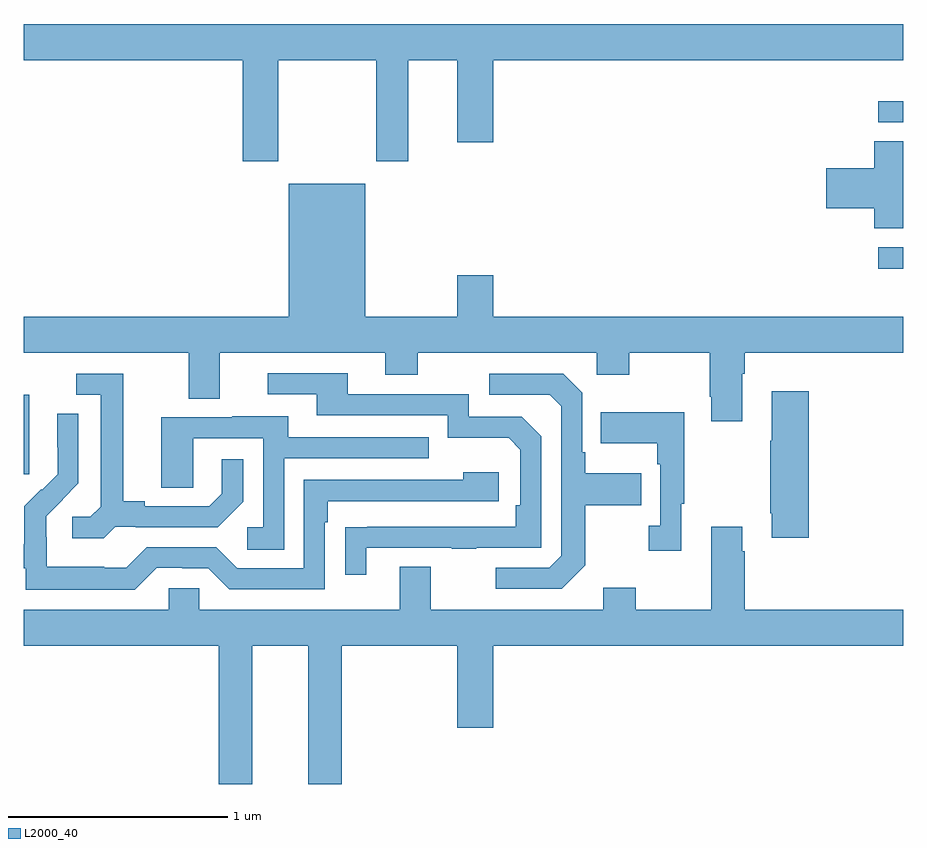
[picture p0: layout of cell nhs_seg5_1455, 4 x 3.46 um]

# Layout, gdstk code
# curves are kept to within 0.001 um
import gdstk
lib = gdstk.Library(unit=1e-6, precision=1e-09)
def R(c, l, rs):  # rectangles x0, y0, x1, y1
    for r in rs: c.add(gdstk.rectangle(r[:2], r[2:], *l))
def P(c, l, *ps):  # polygons
    for p in ps: c.add(gdstk.Polygon(p, *l))
L2000_40 = (2000, 40)

nhs_seg5_1455 = lib.new_cell('nhs_seg5_1455')
R(nhs_seg5_1455, L2000_40, [(199,856.209,199.024,856.57), (202.887,857.143,203,857.241), (202.887,857.808,203,857.904)])
P(nhs_seg5_1455, L2000_40, [(200.157,858.092),(200.602,858.092),(200.602,857.631),(200.749,857.631),(200.749,858.092),(200.972,858.092),(200.972,857.718),(201.136,857.718),(201.136,858.092),(203,858.092),(203,858.256),(199,858.256),(199,858.092),(199.997,858.092),(199.997,857.631),(200.157,857.631)],
  [(203,857.723),(202.868,857.723),(202.868,857.6),(202.65,857.6),(202.65,857.417),(202.868,857.417),(202.868,857.326),(203,857.326)],
  [(202.267,856.664),(202.28,856.664),(202.28,856.76),(203,856.76),(203,856.924),(201.136,856.924),(201.136,857.113),(200.972,857.113),(200.972,856.924),(200.554,856.924),(200.554,857.53),(200.204,857.53),(200.204,856.924),(199,856.924),(199,856.76),(199.751,856.76),(199.751,856.552),(199.891,856.552),(199.891,856.76),(200.645,856.76),(200.645,856.661),(200.793,856.661),(200.793,856.76),(201.606,856.76),(201.606,856.661),(201.753,856.661),(201.753,856.76),(202.12,856.76),(202.12,856.561),(202.127,856.561),(202.127,856.449),(202.267,856.449)],
  [(200.557,855.873),(200.947,855.873),(200.947,855.868),(201.059,855.868),(201.059,855.873),(201.354,855.873),(201.354,856.38),(201.264,856.47),(201.024,856.47),(201.024,856.572),(200.473,856.572),(200.473,856.668),(200.109,856.668),(200.109,856.572),(200.333,856.572),(200.333,856.476),(200.928,856.476),(200.928,856.373),(201.205,856.373),(201.258,856.32),(201.258,856.066),(201.238,856.066),(201.238,855.969),(200.461,855.968),(200.461,855.75),(200.557,855.75)],
  [(199.416,855.969),(199.51,855.969),(199.51,855.966),(199.882,855.966),(199.998,856.082),(199.998,856.276),(199.901,856.276),(199.901,856.119),(199.844,856.062),(199.549,856.062),(199.549,856.085),(199.453,856.085),(199.453,856.665),(199.239,856.665),(199.239,856.569),(199.349,856.569),(199.349,856.061),(199.302,856.014),(199.221,856.014),(199.221,855.917),(199.364,855.917)],
  [(201.553,855.793),(201.553,856.066),(201.809,856.066),(201.809,856.213),(201.553,856.213),(201.553,856.309),(201.54,856.309),(201.54,856.578),(201.453,856.665),(201.117,856.665),(201.117,856.569),(201.393,856.569),(201.444,856.518),(201.444,855.837),(201.39,855.783),(201.147,855.783),(201.147,855.687),(201.447,855.687)],
  [(202.571,856.585),(202.403,856.585),(202.403,856.361),(202.396,856.361),(202.396,856.03),(202.403,856.03),(202.403,855.918),(202.571,855.918)],
  [(201.991,856.073),(202.003,856.073),(202.003,856.489),(201.625,856.489),(201.625,856.349),(201.882,856.349),(201.882,856.253),(201.894,856.253),(201.894,855.974),(201.843,855.974),(201.843,855.861),(201.991,855.861)],
  [(199.605,855.783),(199.721,855.783),(199.721,855.78),(199.839,855.78),(199.935,855.684),(200.37,855.684),(200.37,855.989),(200.383,855.989),(200.383,856.086),(201.16,856.086),(201.16,856.216),(200.999,856.216),(200.999,856.182),(200.274,856.182),(200.274,855.78),(199.971,855.78),(199.875,855.876),(199.56,855.876),(199.467,855.783),(199.367,855.783),(199.367,855.787),(199.104,855.787),(199.104,855.921),(199.102,855.921),(199.102,856.018),(199.248,856.166),(199.248,856.484),(199.152,856.484),(199.152,856.33),(199.154,856.33),(199.154,856.208),(199.083,856.137),(199.08,856.14),(199.003,856.063),(199.003,855.889),(199,855.889),(199,855.78),(199.008,855.78),(199.008,855.683),(199.505,855.683)],
  [(200.184,856.281),(200.843,856.281),(200.843,856.377),(200.203,856.377),(200.203,856.471),(199.949,856.471),(199.949,856.467),(199.625,856.467),(199.625,856.147),(199.77,856.147),(199.77,856.371),(200.088,856.371),(200.088,855.966),(200.016,855.966),(200.016,855.865),(200.184,855.865)],
  [(200.038,855.428),(200.294,855.428),(200.294,854.799),(200.447,854.799),(200.447,855.428),(200.972,855.428),(200.972,855.054),(201.136,855.054),(201.136,855.428),(203,855.428),(203,855.592),(202.28,855.592),(202.28,855.857),(202.267,855.857),(202.267,855.97),(202.127,855.97),(202.127,855.592),(201.783,855.592),(201.783,855.691),(201.635,855.691),(201.635,855.592),(200.851,855.592),(200.851,855.787),(200.711,855.787),(200.711,855.592),(199.797,855.592),(199.797,855.69),(199.659,855.69),(199.659,855.592),(199,855.592),(199,855.428),(199.886,855.428),(199.886,854.799),(200.038,854.799)])

lib.write_gds('nhs_seg5_1455.gds')
